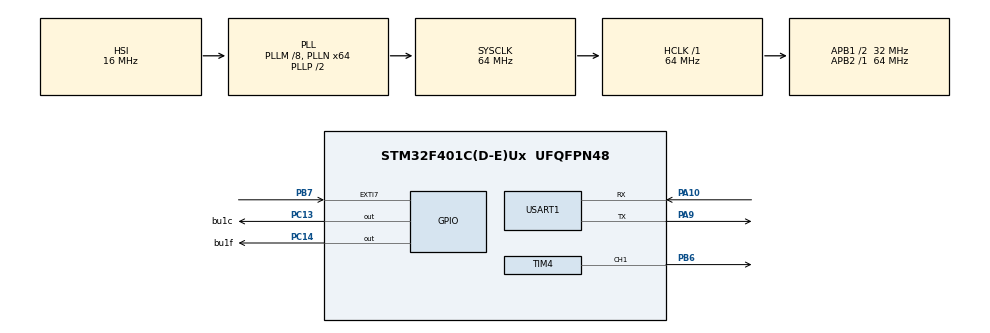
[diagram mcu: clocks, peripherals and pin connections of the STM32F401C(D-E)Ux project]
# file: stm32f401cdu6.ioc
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Mcu.Family=STM32F4
Mcu.Name=STM32F401C(D-E)Ux
Mcu.Package=UFQFPN48
NVIC.EXTI9_5_IRQn=true\:0\:0\:false\:false\:false\:true\:true\:true
NVIC.PriorityGroup=NVIC_PRIORITYGROUP_4
NVIC.TIM1_UP_TIM10_IRQn=true\:3\:0\:true\:false\:false\:true\:true\:true
NVIC.TIM4_IRQn=true\:1\:0\:true\:false\:false\:true\:true\:true
NVIC.USART1_IRQn=true\:2\:0\:true\:false\:false\:true\:true\:true
PA10.Mode=Asynchronous
PA10.Signal=USART1_RX
PA13.Mode=Serial_Wire
PA13.Signal=SYS_JTMS-SWDIO
PA14.Mode=Serial_Wire
PA14.Signal=SYS_JTCK-SWCLK
PA9.Mode=Asynchronous
PA9.Signal=USART1_TX
PB6.Signal=S_TIM4_CH1
PB7.GPIO_ModeDefaultEXTI=GPIO_MODE_IT_RISING
PB7.Signal=GPXTI7
PC13-ANTI_TAMP.GPIO_Label=bu1c
PC13-ANTI_TAMP.Signal=GPIO_Output
PC14-OSC32_IN.GPIO_Label=bu1f
PC14-OSC32_IN.Signal=GPIO_Output
ProjectManager.HeapSize=0x200
ProjectManager.StackSize=0x400
ProjectManager.TargetToolchain=STM32CubeIDE
RCC.48MHZClocksFreq_Value=32000000
RCC.AHBFreq_Value=64000000
RCC.APB1CLKDivider=RCC_HCLK_DIV2
RCC.APB1Freq_Value=32000000
RCC.APB1TimFreq_Value=64000000
RCC.APB2Freq_Value=64000000
RCC.APB2TimFreq_Value=64000000
RCC.CortexFreq_Value=64000000
RCC.HCLKFreq_Value=64000000
RCC.HSE_VALUE=25000000
RCC.HSI_VALUE=16000000
RCC.LSE_VALUE=32768
RCC.PLLM=8
RCC.PLLN=64
RCC.SYSCLKFreq_VALUE=64000000
RCC.SYSCLKSource=RCC_SYSCLKSOURCE_PLLCLK
RCC.VCOOutputFreq_Value=128000000
SH.S_TIM4_CH1.0=TIM4_CH1,PWM Generation1 CH1
TIM1.Period=999
TIM1.Prescaler=63
TIM4.Channel-PWM\ Generation1\ CH1=TIM_CHANNEL_1
TIM4.Period=50000
TIM4.Prescaler=1
TIM4.Pulse-PWM\ Generation1\ CH1=0
USART1.VirtualMode=VM_ASYNC
VP_TIM1_VS_ClockSourceINT.Mode=Internal
VP_TIM4_VS_ClockSourceINT.Mode=Internal
board=custom

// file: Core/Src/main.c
/* USER CODE BEGIN Header */
/**
  ******************************************************************************
  * @file           : main.c
  * @brief          : Main program body
  ******************************************************************************
  * @attention
  *
  * Copyright (c) 2023 STMicroelectronics.
  * All rights reserved.
  *
  * This software is licensed under terms that can be found in the LICENSE file
  * in the root directory of this software component.
  * If no LICENSE file comes with this software, it is provided AS-IS.
  *
  ******************************************************************************
  */
/* USER CODE END Header */
#include "main.h"

/* USER CODE BEGIN Includes */
#include "achuankou.h"
#include "math.h"

#include "abujindianjipwm.h"
extern bujinpwm dianji[4];
extern uint16_t jiasuliebiao[31005] ;
uint32_t jici = 0;
extern uint16_t jjj[10];
uint64_t xitongshijianms = 0,ledfanzhuanms;
extern int64_t jicunqi[256];
/* USER CODE END Includes */

TIM_HandleTypeDef htim1;
TIM_HandleTypeDef htim4;

UART_HandleTypeDef huart1;

void SystemClock_Config(void);
static void MX_GPIO_Init(void);
static void MX_TIM4_Init(void);
static void MX_USART1_UART_Init(void);
static void MX_TIM1_Init(void);

/* USER CODE BEGIN 0 */

void TIM4_IRQHandler(void)
{
  /* USER CODE BEGIN TIM4_IRQn 0 */
	pwmzhongduankongzhi();
  /* USER CODE END TIM4_IRQn 0 */
	//HAL_GPIO_TogglePin(bu1c_GPIO_Port, bu1c_Pin);
  HAL_TIM_IRQHandler(&htim4);
  jjj[3] = TIM4->CNT;
  if(jjj[4] < jjj[3])jjj[4] = jjj[3];
  /* USER CODE BEGIN TIM4_IRQn 1 */

  /* USER CODE END TIM4_IRQn 1 */
}
void TIM1_UP_TIM10_IRQHandler(void)//毫秒定时�?-20230330
{
  /* USER CODE BEGIN TIM1_UP_TIM10_IRQn 0 */
	xitongshijianms++;//系统时间
	duankou1xunhuan();//串口循环
	duankoupanduan();

	if(dianji[0].dangqiansudu < 0)
	dianji[0].dingshi = jicunqi[0] / ( sqrt(jicunqi[1]*jicunqi[1] + 2 * jicunqi[3] * (-dianji[0].dangqiansudu)));
	if(dianji[0].dangqiansudu >= 0)
	dianji[0].dingshi = jicunqi[0] / ( sqrt(jicunqi[1]*jicunqi[1] + 2 * jicunqi[3] * (dianji[0].dangqiansudu)));

	/* USER CODE END TIM1_UP_TIM10_IRQn 0 */
  HAL_TIM_IRQHandler(&htim1);
  /* USER CODE BEGIN TIM1_UP_TIM10_IRQn 1 */

  /* USER CODE END TIM1_UP_TIM10_IRQn 1 */
}
void EXTI9_5_IRQHandler(void)
{
  /* USER CODE BEGIN EXTI9_5_IRQn 0 */
	if(dianji[0].shijifangxiang == 1)
	{
		dianji[0].jiluweizhi  ++;
	}
	if(dianji[0].shijifangxiang == 0)
	{
		dianji[0].jiluweizhi  --;
	}
  /* USER CODE END EXTI9_5_IRQn 0 */
  HAL_GPIO_EXTI_IRQHandler(GPIO_PIN_7);
  /* USER CODE BEGIN EXTI9_5_IRQn 1 */

  /* USER CODE END EXTI9_5_IRQn 1 */
}
/* USER CODE END 0 */

int main(void)
{

  /* MCU Configuration--------------------------------------------------------*/

  /* Reset of all peripherals, Initializes the Flash interface and the Systick. */
  HAL_Init();

  /* Configure the system clock */
  SystemClock_Config();

  /* Initialize all configured peripherals */
  MX_GPIO_Init();
  MX_TIM4_Init();
  MX_USART1_UART_Init();
  MX_TIM1_Init();

  /* Infinite loop */
  /* USER CODE BEGIN WHILE */
   HAL_TIM_PWM_Start(&htim4,TIM_CHANNEL_1);
  HAL_TIM_Base_Start_IT(&htim4);
  HAL_TIM_Base_Start_IT(&htim1);
  __HAL_UART_ENABLE_IT(&huart1, UART_IT_RXNE);
  HAL_Delay(100);
  jicunqi[0] = 32000000;//定时器频率
  jicunqi[1] = 500;//最小速度
  jicunqi[2] = 32000;//最大速度
  jicunqi[3] = 64000;//加速度
  jicunqi[4] = 0;
  jicunqi[5] = 0;//是否立即启动
  jicunqi[6] = 0;//是否返回数据

  //jiasuleibiaojisuan(jicunqi[0],jicunqi[1],jicunqi[3],31004);//先计算一遍加速表

 // dianji[0].zuidasudu = s2b(jicunqi[0],jicunqi[2]);//设置�????大�?�度
  //uint64_t aa = 96000;
  //dianji[0].zuidasudu = aa*aa/2/50000;

 // dianji[0].yudingweizhi = 32000;//设置位置

  while (1)
  {
	  jici++;
	  dianji[0].zuidasudu = s2b2(jicunqi[1],jicunqi[3],jicunqi[2]);
/////---------------实时位置设定
		  if(jicunqi[5] == 0){
					  dianji[0].yudingweizhi = jicunqi[4];
				  }else{
					  if(jicunqi[5] == 2)
					  {
						  jicunqi[5] = 1;
						  dianji[0].yudingweizhi = jicunqi[4];
					  }
				  }

///---------------------紧急停止
	  if(jicunqi[7] != 0)
	  {
		  jicunqi[7] = 0;
		  jicunqi[4] = dianji[0].tingzhiweizhi;
	  }
//------------------------------------------------
	  if((dianji[0].dangqianweizhi%320) == 0)
	  HAL_GPIO_TogglePin(bu1c_GPIO_Port, bu1c_Pin);

////-----------------------------设置当前位置为原点
	  if(jicunqi[8] != 0)
	  {
		  jicunqi[8] = 0;
		  HAL_TIM_Base_Stop_IT(&htim4);
		  jicunqi[4] = 0;
		  dianji[0].dangqianweizhi = 0;
		  HAL_TIM_Base_Start_IT(&htim4);
	  }
//----------------------------恢复出厂设置
	  if(jicunqi[9] == 1)
	  {
		  jicunqi[9] = 0;
		  jicunqi[0] = 32000000;//定时器频率
		  jicunqi[1] = 500;//最小速度
		  jicunqi[2] = 32000;//最大速度
		  jicunqi[3] = 64000;//加速度
		  jicunqi[4] = 0;
		  jicunqi[5] = 0;//是否立即启动
		  jicunqi[6] = 0;//是否返回数据
	  }
//
	 // HAL_Delay(1);
//	  chuankoufasong(201,dianji[0].dangqianweizhi);
//	  chuankoufasong(202,dianji[0].dangqiansudu);
//	  chuankoufasong(203,dianji[0].jiluweizhi);
////
//	  chuankoufasong(204,dianji[0].zuidasudu);
//	  chuankoufasong(205,TIM4->CNT);
////
//	  chuankoufasong(207,jjj[0]);
//	  chuankoufasong(208,jjj[1]);
//	  chuankoufasong(209,jjj[3]);
//	  chuankoufasong(210,jjj[4]);
//
	 // chuankoufasong(215,jici);
//	  chuankoufasong(216,jiasuliebiao[jici]);

    /* USER CODE END WHILE */

  }
}

void SystemClock_Config(void)
{
  RCC_OscInitTypeDef RCC_OscInitStruct = {0};
  RCC_ClkInitTypeDef RCC_ClkInitStruct = {0};

  /** Configure the main internal regulator output voltage
  */
  __HAL_RCC_PWR_CLK_ENABLE();
  __HAL_PWR_VOLTAGESCALING_CONFIG(PWR_REGULATOR_VOLTAGE_SCALE2);

  /** Initializes the RCC Oscillators according to the specified parameters
  * in the RCC_OscInitTypeDef structure.
  */
  RCC_OscInitStruct.OscillatorType = RCC_OSCILLATORTYPE_HSI;
  RCC_OscInitStruct.HSIState = RCC_HSI_ON;
  RCC_OscInitStruct.HSICalibrationValue = RCC_HSICALIBRATION_DEFAULT;
  RCC_OscInitStruct.PLL.PLLState = RCC_PLL_ON;
  RCC_OscInitStruct.PLL.PLLSource = RCC_PLLSOURCE_HSI;
  RCC_OscInitStruct.PLL.PLLM = 8;
  RCC_OscInitStruct.PLL.PLLN = 64;
  RCC_OscInitStruct.PLL.PLLP = RCC_PLLP_DIV2;
  RCC_OscInitStruct.PLL.PLLQ = 4;
  if (HAL_RCC_OscConfig(&RCC_OscInitStruct) != HAL_OK)
  {
    Error_Handler();
  }

  /** Initializes the CPU, AHB and APB buses clocks
  */
  RCC_ClkInitStruct.ClockType = RCC_CLOCKTYPE_HCLK|RCC_CLOCKTYPE_SYSCLK
                              |RCC_CLOCKTYPE_PCLK1|RCC_CLOCKTYPE_PCLK2;
  RCC_ClkInitStruct.SYSCLKSource = RCC_SYSCLKSOURCE_PLLCLK;
  RCC_ClkInitStruct.AHBCLKDivider = RCC_SYSCLK_DIV1;
  RCC_ClkInitStruct.APB1CLKDivider = RCC_HCLK_DIV2;
  RCC_ClkInitStruct.APB2CLKDivider = RCC_HCLK_DIV1;

  if (HAL_RCC_ClockConfig(&RCC_ClkInitStruct, FLASH_LATENCY_2) != HAL_OK)
  {
    Error_Handler();
  }
}

static void MX_TIM1_Init(void)
{

  TIM_ClockConfigTypeDef sClockSourceConfig = {0};
  TIM_MasterConfigTypeDef sMasterConfig = {0};

  htim1.Instance = TIM1;
  htim1.Init.Prescaler = 63;
  htim1.Init.CounterMode = TIM_COUNTERMODE_UP;
  htim1.Init.Period = 999;
  htim1.Init.ClockDivision = TIM_CLOCKDIVISION_DIV1;
  htim1.Init.RepetitionCounter = 0;
  htim1.Init.AutoReloadPreload = TIM_AUTORELOAD_PRELOAD_DISABLE;
  if (HAL_TIM_Base_Init(&htim1) != HAL_OK)
  {
    Error_Handler();
  }
  sClockSourceConfig.ClockSource = TIM_CLOCKSOURCE_INTERNAL;
  if (HAL_TIM_ConfigClockSource(&htim1, &sClockSourceConfig) != HAL_OK)
  {
    Error_Handler();
  }
  sMasterConfig.MasterOutputTrigger = TIM_TRGO_RESET;
  sMasterConfig.MasterSlaveMode = TIM_MASTERSLAVEMODE_DISABLE;
  if (HAL_TIMEx_MasterConfigSynchronization(&htim1, &sMasterConfig) != HAL_OK)
  {
    Error_Handler();
  }

}

static void MX_TIM4_Init(void)
{

  TIM_ClockConfigTypeDef sClockSourceConfig = {0};
  TIM_MasterConfigTypeDef sMasterConfig = {0};
  TIM_OC_InitTypeDef sConfigOC = {0};

  htim4.Instance = TIM4;
  htim4.Init.Prescaler = 1;
  htim4.Init.CounterMode = TIM_COUNTERMODE_UP;
  htim4.Init.Period = 50000;
  htim4.Init.ClockDivision = TIM_CLOCKDIVISION_DIV1;
  htim4.Init.AutoReloadPreload = TIM_AUTORELOAD_PRELOAD_DISABLE;
  if (HAL_TIM_Base_Init(&htim4) != HAL_OK)
  {
    Error_Handler();
  }
  sClockSourceConfig.ClockSource = TIM_CLOCKSOURCE_INTERNAL;
  if (HAL_TIM_ConfigClockSource(&htim4, &sClockSourceConfig) != HAL_OK)
  {
    Error_Handler();
  }
  if (HAL_TIM_PWM_Init(&htim4) != HAL_OK)
  {
    Error_Handler();
  }
  sMasterConfig.MasterOutputTrigger = TIM_TRGO_RESET;
  sMasterConfig.MasterSlaveMode = TIM_MASTERSLAVEMODE_DISABLE;
  if (HAL_TIMEx_MasterConfigSynchronization(&htim4, &sMasterConfig) != HAL_OK)
  {
    Error_Handler();
  }
  sConfigOC.OCMode = TIM_OCMODE_PWM1;
  sConfigOC.Pulse = 0;
  sConfigOC.OCPolarity = TIM_OCPOLARITY_HIGH;
  sConfigOC.OCFastMode = TIM_OCFAST_DISABLE;
  if (HAL_TIM_PWM_ConfigChannel(&htim4, &sConfigOC, TIM_CHANNEL_1) != HAL_OK)
  {
    Error_Handler();
  }
  HAL_TIM_MspPostInit(&htim4);

}

static void MX_USART1_UART_Init(void)
{

  huart1.Instance = USART1;
  huart1.Init.BaudRate = 115200;
  huart1.Init.WordLength = UART_WORDLENGTH_8B;
  huart1.Init.StopBits = UART_STOPBITS_1;
  huart1.Init.Parity = UART_PARITY_NONE;
  huart1.Init.Mode = UART_MODE_TX_RX;
  huart1.Init.HwFlowCtl = UART_HWCONTROL_NONE;
  huart1.Init.OverSampling = UART_OVERSAMPLING_16;
  if (HAL_UART_Init(&huart1) != HAL_OK)
  {
    Error_Handler();
  }

}

static void MX_GPIO_Init(void)
{
  GPIO_InitTypeDef GPIO_InitStruct = {0};

  /* GPIO Ports Clock Enable */
  __HAL_RCC_GPIOC_CLK_ENABLE();
  __HAL_RCC_GPIOA_CLK_ENABLE();
  __HAL_RCC_GPIOB_CLK_ENABLE();

  /*Configure GPIO pin Output Level */
  HAL_GPIO_WritePin(GPIOC, bu1c_Pin|bu1f_Pin, GPIO_PIN_RESET);

  /*Configure GPIO pins : bu1c_Pin bu1f_Pin */
  GPIO_InitStruct.Pin = bu1c_Pin|bu1f_Pin;
  GPIO_InitStruct.Mode = GPIO_MODE_OUTPUT_PP;
  GPIO_InitStruct.Pull = GPIO_NOPULL;
  GPIO_InitStruct.Speed = GPIO_SPEED_FREQ_LOW;
  HAL_GPIO_Init(GPIOC, &GPIO_InitStruct);

  /*Configure GPIO pin : PB7 */
  GPIO_InitStruct.Pin = GPIO_PIN_7;
  GPIO_InitStruct.Mode = GPIO_MODE_IT_RISING;
  GPIO_InitStruct.Pull = GPIO_NOPULL;
  HAL_GPIO_Init(GPIOB, &GPIO_InitStruct);

  /* EXTI interrupt init*/
  HAL_NVIC_SetPriority(EXTI9_5_IRQn, 0, 0);
  HAL_NVIC_EnableIRQ(EXTI9_5_IRQn);

}

void Error_Handler(void)
{
  __disable_irq();
  while (1)
  {
  }
}
